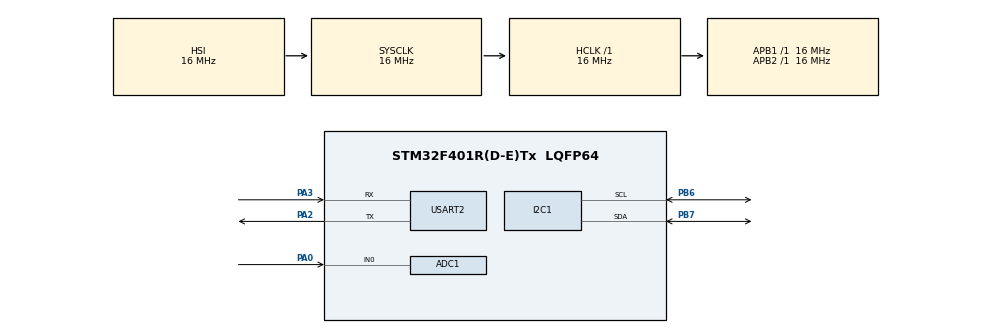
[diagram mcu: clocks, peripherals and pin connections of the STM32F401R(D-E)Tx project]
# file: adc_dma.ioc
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ADC1.Channel-0\#ChannelRegularConversion=ADC_CHANNEL_0
ADC1.ClockPrescaler=ADC_CLOCK_SYNC_PCLK_DIV4
ADC1.ContinuousConvMode=ENABLE
ADC1.DMAContinuousRequests=ENABLE
ADC1.DataAlign=ADC_DATAALIGN_RIGHT
ADC1.DiscontinuousConvMode=DISABLE
ADC1.EOCSelection=ADC_EOC_SINGLE_CONV
ADC1.EnableAnalogWatchDog=false
ADC1.ExternalTrigConv=ADC_SOFTWARE_START
ADC1.ExternalTrigConvEdge=ADC_EXTERNALTRIGCONVEDGE_NONE
ADC1.InjNumberOfConversion=0
ADC1.NbrOfConversion=1
ADC1.NbrOfConversionFlag=1
ADC1.Rank-0\#ChannelRegularConversion=1
ADC1.Resolution=ADC_RESOLUTION_12B
ADC1.SamplingTime-0\#ChannelRegularConversion=ADC_SAMPLETIME_480CYCLES
ADC1.ScanConvMode=ENABLE
ADC1.master=1
Dma.ADC1.0.Direction=DMA_PERIPH_TO_MEMORY
Dma.ADC1.0.FIFOMode=DMA_FIFOMODE_DISABLE
Dma.ADC1.0.Instance=DMA2_Stream0
Dma.ADC1.0.MemDataAlignment=DMA_MDATAALIGN_WORD
Dma.ADC1.0.MemInc=DMA_MINC_ENABLE
Dma.ADC1.0.Mode=DMA_CIRCULAR
Dma.ADC1.0.PeriphDataAlignment=DMA_PDATAALIGN_WORD
Dma.ADC1.0.PeriphInc=DMA_PINC_DISABLE
Dma.ADC1.0.Priority=DMA_PRIORITY_LOW
Dma.Request0=ADC1
Mcu.Family=STM32F4
Mcu.Name=STM32F401R(D-E)Tx
Mcu.Package=LQFP64
NVIC.ADC_IRQn=true\:0\:0\:false\:false\:true\:true
NVIC.DMA2_Stream0_IRQn=true\:0\:0\:false\:false\:true\:false
NVIC.PriorityGroup=NVIC_PRIORITYGROUP_4
PA0-WKUP.Signal=ADCx_IN0
PA2.Mode=Asynchronous
PA2.Signal=USART2_TX
PA3.Mode=Asynchronous
PA3.Signal=USART2_RX
PB6.Mode=I2C
PB6.Signal=I2C1_SCL
PB7.Mode=I2C
PB7.Signal=I2C1_SDA
ProjectManager.HeapSize=0x200
ProjectManager.StackSize=0x400
ProjectManager.TargetToolchain=Makefile
RCC.AHBFreq_Value=16000000
RCC.APB1Freq_Value=16000000
RCC.APB2Freq_Value=16000000
RCC.CortexFreq_Value=16000000
RCC.HSE_VALUE=25000000
RCC.HSI_VALUE=16000000
RCC.LSE_VALUE=32768
RCC.SYSCLKFreq_VALUE=16000000
RCC.VCOOutputFreq_Value=192000000
SH.ADCx_IN0.0=ADC1_IN0,IN0
USART2.VirtualMode=VM_ASYNC
board=custom

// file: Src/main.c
/**
  ******************************************************************************
  * @file           : main.c
  * @brief          : Main program body
  ******************************************************************************
  ** This notice applies to any and all portions of this file
  * that are not between comment pairs USER CODE BEGIN and
  * USER CODE END. Other portions of this file, whether
  * inserted by the user or by software development tools
  * are owned by their respective copyright owners.
  *
  * COPYRIGHT(c) 2018 STMicroelectronics
  *
  * Redistribution and use in source and binary forms, with or without modification,
  * are permitted provided that the following conditions are met:
  *   1. Redistributions of source code must retain the above copyright notice,
  *      this list of conditions and the following disclaimer.
  *   2. Redistributions in binary form must reproduce the above copyright notice,
  *      this list of conditions and the following disclaimer in the documentation
  *      and/or other materials provided with the distribution.
  *   3. Neither the name of STMicroelectronics nor the names of its contributors
  *      may be used to endorse or promote products derived from this software
  *      without specific prior written permission.
  *
  * THIS SOFTWARE IS PROVIDED BY THE COPYRIGHT HOLDERS AND CONTRIBUTORS "AS IS"
  * AND ANY EXPRESS OR IMPLIED WARRANTIES, INCLUDING, BUT NOT LIMITED TO, THE
  * IMPLIED WARRANTIES OF MERCHANTABILITY AND FITNESS FOR A PARTICULAR PURPOSE ARE
  * DISCLAIMED. IN NO EVENT SHALL THE COPYRIGHT HOLDER OR CONTRIBUTORS BE LIABLE
  * FOR ANY DIRECT, INDIRECT, INCIDENTAL, SPECIAL, EXEMPLARY, OR CONSEQUENTIAL
  * DAMAGES (INCLUDING, BUT NOT LIMITED TO, PROCUREMENT OF SUBSTITUTE GOODS OR
  * SERVICES; LOSS OF USE, DATA, OR PROFITS; OR BUSINESS INTERRUPTION) HOWEVER
  * CAUSED AND ON ANY THEORY OF LIABILITY, WHETHER IN CONTRACT, STRICT LIABILITY,
  * OR TORT (INCLUDING NEGLIGENCE OR OTHERWISE) ARISING IN ANY WAY OUT OF THE USE
  * OF THIS SOFTWARE, EVEN IF ADVISED OF THE POSSIBILITY OF SUCH DAMAGE.
  *
  ******************************************************************************
  */
#include "main.h"
#include "stm32f4xx_hal.h"

/* USER CODE BEGIN Includes */
#include "fonts.h"
#include "ssd1306.h"
#include "filter.h"

#define PI 3.141592653589793
/* USER CODE END Includes */

ADC_HandleTypeDef hadc1;
DMA_HandleTypeDef hdma_adc1;

I2C_HandleTypeDef hi2c1;

UART_HandleTypeDef huart2;

/* USER CODE BEGIN PV */
/* Private variables ---------------------------------------------------------*/

/* USER CODE END PV */

void SystemClock_Config(void);
static void MX_GPIO_Init(void);
static void MX_DMA_Init(void);
static void MX_ADC1_Init(void);
static void MX_I2C1_Init(void);
static void MX_USART2_UART_Init(void);

/* USER CODE BEGIN PFP */
/* Private function prototypes -----------------------------------------------*/
void print(char *msg, int row);

/* USER CODE END PFP */

/* USER CODE BEGIN 0 */
uint32_t adc_buffer[1024];
uint32_t read_value[1024];
void HAL_ADC_ConvCpltCallback(ADC_HandleTypeDef* hadc)
{
    memcpy(read_value, adc_buffer, sizeof(adc_buffer));
}

/* USER CODE END 0 */

int main(void)
{

  /* MCU Configuration----------------------------------------------------------*/

  /* Reset of all peripherals, Initializes the Flash interface and the Systick. */
  HAL_Init();

  /* Configure the system clock */
  SystemClock_Config();

  /* Initialize all configured peripherals */
  MX_GPIO_Init();
  MX_DMA_Init();
  MX_ADC1_Init();
  MX_I2C1_Init();
  MX_USART2_UART_Init();
  /* USER CODE BEGIN 2 */
  ssd1306_Init();

  HAL_ADC_Start_DMA(&hadc1, adc_buffer, 1024);

  /* USER CODE END 2 */

  /* Infinite loop */
  /* USER CODE BEGIN WHILE */
  while (1)
  {
    char msg[20] = "";
    double val = goertzel(read_value, 8080, 1000, 1024);
    int predec = (int)(val / 1);
    int postdec = (int)((val - predec) * 1000);
    sprintf(msg, "%d.%d\n", predec, postdec);
    print(msg, 0);
    HAL_UART_Transmit(&huart2, (uint8_t *)msg, strlen(msg), 0xFFFF);

    /* USER CODE END WHILE */
    // /* USER CODE BEGIN 3 */

  }
  /* USER CODE END 3 */
}

void SystemClock_Config(void)
{

  RCC_OscInitTypeDef RCC_OscInitStruct;
  RCC_ClkInitTypeDef RCC_ClkInitStruct;

  /**Configure the main internal regulator output voltage
    */
  __HAL_RCC_PWR_CLK_ENABLE();

  __HAL_PWR_VOLTAGESCALING_CONFIG(PWR_REGULATOR_VOLTAGE_SCALE2);

  /**Initializes the CPU, AHB and APB busses clocks
    */
  RCC_OscInitStruct.OscillatorType = RCC_OSCILLATORTYPE_HSI;
  RCC_OscInitStruct.HSIState = RCC_HSI_ON;
  RCC_OscInitStruct.HSICalibrationValue = 16;
  RCC_OscInitStruct.PLL.PLLState = RCC_PLL_NONE;
  if (HAL_RCC_OscConfig(&RCC_OscInitStruct) != HAL_OK)
  {
    _Error_Handler(__FILE__, __LINE__);
  }

  /**Initializes the CPU, AHB and APB busses clocks
    */
  RCC_ClkInitStruct.ClockType = RCC_CLOCKTYPE_HCLK | RCC_CLOCKTYPE_SYSCLK | RCC_CLOCKTYPE_PCLK1 | RCC_CLOCKTYPE_PCLK2;
  RCC_ClkInitStruct.SYSCLKSource = RCC_SYSCLKSOURCE_HSI;
  RCC_ClkInitStruct.AHBCLKDivider = RCC_SYSCLK_DIV1;
  RCC_ClkInitStruct.APB1CLKDivider = RCC_HCLK_DIV1;
  RCC_ClkInitStruct.APB2CLKDivider = RCC_HCLK_DIV1;

  if (HAL_RCC_ClockConfig(&RCC_ClkInitStruct, FLASH_LATENCY_0) != HAL_OK)
  {
    _Error_Handler(__FILE__, __LINE__);
  }

  /**Configure the Systick interrupt time
    */
  HAL_SYSTICK_Config(HAL_RCC_GetHCLKFreq() / 1000);

  /**Configure the Systick
    */
  HAL_SYSTICK_CLKSourceConfig(SYSTICK_CLKSOURCE_HCLK);

  /* SysTick_IRQn interrupt configuration */
  HAL_NVIC_SetPriority(SysTick_IRQn, 0, 0);
}

/* ADC1 init function */
static void MX_ADC1_Init(void)
{

  ADC_ChannelConfTypeDef sConfig;

  /**Configure the global features of the ADC (Clock, Resolution, Data Alignment and number of conversion)
    */
  hadc1.Instance = ADC1;
  hadc1.Init.ClockPrescaler = ADC_CLOCK_SYNC_PCLK_DIV4;
  hadc1.Init.Resolution = ADC_RESOLUTION_12B;
  hadc1.Init.ScanConvMode = ENABLE;
  hadc1.Init.ContinuousConvMode = ENABLE;
  hadc1.Init.DiscontinuousConvMode = DISABLE;
  hadc1.Init.ExternalTrigConvEdge = ADC_EXTERNALTRIGCONVEDGE_NONE;
  hadc1.Init.ExternalTrigConv = ADC_SOFTWARE_START;
  hadc1.Init.DataAlign = ADC_DATAALIGN_RIGHT;
  hadc1.Init.NbrOfConversion = 1;
  hadc1.Init.DMAContinuousRequests = ENABLE;
  hadc1.Init.EOCSelection = ADC_EOC_SINGLE_CONV;
  if (HAL_ADC_Init(&hadc1) != HAL_OK)
  {
    _Error_Handler(__FILE__, __LINE__);
  }

  /**Configure for the selected ADC regular channel its corresponding rank in the sequencer and its sample time.
    */
  sConfig.Channel = ADC_CHANNEL_0;
  sConfig.Rank = 1;
  sConfig.SamplingTime = ADC_SAMPLETIME_480CYCLES;
  if (HAL_ADC_ConfigChannel(&hadc1, &sConfig) != HAL_OK)
  {
    _Error_Handler(__FILE__, __LINE__);
  }
}

/* I2C1 init function */
static void MX_I2C1_Init(void)
{

  hi2c1.Instance = I2C1;
  hi2c1.Init.ClockSpeed = 100000;
  hi2c1.Init.DutyCycle = I2C_DUTYCYCLE_2;
  hi2c1.Init.OwnAddress1 = 0;
  hi2c1.Init.AddressingMode = I2C_ADDRESSINGMODE_7BIT;
  hi2c1.Init.DualAddressMode = I2C_DUALADDRESS_DISABLE;
  hi2c1.Init.OwnAddress2 = 0;
  hi2c1.Init.GeneralCallMode = I2C_GENERALCALL_DISABLE;
  hi2c1.Init.NoStretchMode = I2C_NOSTRETCH_DISABLE;
  if (HAL_I2C_Init(&hi2c1) != HAL_OK)
  {
    _Error_Handler(__FILE__, __LINE__);
  }
}

/* USART2 init function */
static void MX_USART2_UART_Init(void)
{

  huart2.Instance = USART2;
  huart2.Init.BaudRate = 115200;
  huart2.Init.WordLength = UART_WORDLENGTH_8B;
  huart2.Init.StopBits = UART_STOPBITS_1;
  huart2.Init.Parity = UART_PARITY_NONE;
  huart2.Init.Mode = UART_MODE_TX_RX;
  huart2.Init.HwFlowCtl = UART_HWCONTROL_NONE;
  huart2.Init.OverSampling = UART_OVERSAMPLING_16;
  if (HAL_UART_Init(&huart2) != HAL_OK)
  {
    _Error_Handler(__FILE__, __LINE__);
  }
}

static void MX_DMA_Init(void)
{
  /* DMA controller clock enable */
  __HAL_RCC_DMA2_CLK_ENABLE();

  /* DMA interrupt init */
  /* DMA2_Stream0_IRQn interrupt configuration */
  HAL_NVIC_SetPriority(DMA2_Stream0_IRQn, 0, 0);
  HAL_NVIC_EnableIRQ(DMA2_Stream0_IRQn);
}

/** Pinout Configuration
*/
static void MX_GPIO_Init(void)
{

  /* GPIO Ports Clock Enable */
  __HAL_RCC_GPIOA_CLK_ENABLE();
  __HAL_RCC_GPIOB_CLK_ENABLE();
}

/* USER CODE BEGIN 4 */
void print(char *msg, int row)
{
  if (row == 0)
  {
    ssd1306_Fill(Black);
  }
  ssd1306_SetCursor(0, row * 10);
  ssd1306_WriteString(msg, Font_7x10, White);
  ssd1306_UpdateScreen();
}

/* USER CODE END 4 */

void _Error_Handler(char *file, int line)
{
  while (1)
  {
  }
}

/************************ (C) COPYRIGHT STMicroelectronics *****END OF FILE****/
